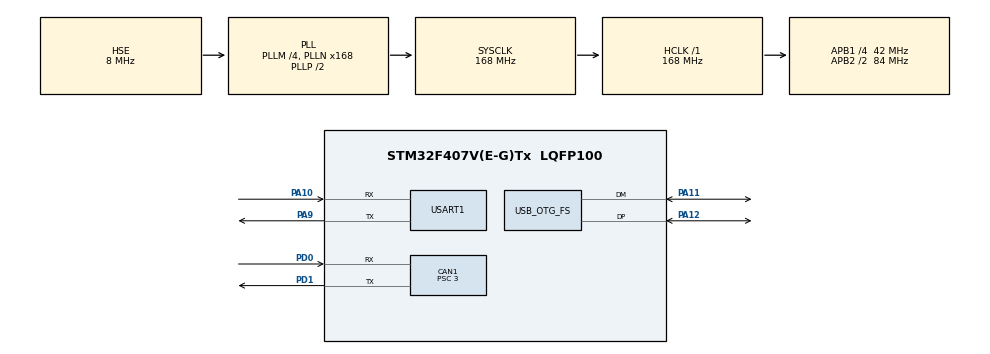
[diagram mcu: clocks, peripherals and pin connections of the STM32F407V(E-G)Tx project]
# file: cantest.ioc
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CAN1.BS1=CAN_BS1_10TQ
CAN1.BS2=CAN_BS2_3TQ
CAN1.CalculateBaudRate=1000000
CAN1.CalculateTimeBit=1000
CAN1.CalculateTimeQuantum=476.1904761904762
CAN1.Prescaler=3
FREERTOS.Tasks01=defaultTask,24,128,StartDefaultTask,Default,NULL,Dynamic,NULL,NULL
Mcu.Family=STM32F4
Mcu.Name=STM32F407V(E-G)Tx
Mcu.Package=LQFP100
NVIC.CAN1_RX0_IRQn=true\:5\:0\:false\:false\:true\:true\:true\:true\:true
NVIC.CAN1_RX1_IRQn=true\:5\:0\:false\:false\:true\:true\:true\:true\:true
NVIC.PriorityGroup=NVIC_PRIORITYGROUP_4
NVIC.TIM1_UP_TIM10_IRQn=true\:15\:0\:false\:false\:true\:false\:false\:true\:true
NVIC.TimeBase=TIM1_UP_TIM10_IRQn
NVIC.TimeBaseIP=TIM1
PA10.Mode=Asynchronous
PA10.Signal=USART1_RX
PA11.Mode=Device_Only
PA11.Signal=USB_OTG_FS_DM
PA12.Mode=Device_Only
PA12.Signal=USB_OTG_FS_DP
PA13.Mode=Serial_Wire
PA13.Signal=SYS_JTMS-SWDIO
PA14.Mode=Serial_Wire
PA14.Signal=SYS_JTCK-SWCLK
PA9.Mode=Asynchronous
PA9.Signal=USART1_TX
PC14-OSC32_IN.Mode=LSE-External-Oscillator
PC14-OSC32_IN.Signal=RCC_OSC32_IN
PC15-OSC32_OUT.Mode=LSE-External-Oscillator
PC15-OSC32_OUT.Signal=RCC_OSC32_OUT
PD0.Mode=CAN_Activate
PD0.Signal=CAN1_RX
PD1.Mode=CAN_Activate
PD1.Signal=CAN1_TX
PH0-OSC_IN.Mode=HSE-External-Oscillator
PH0-OSC_IN.Signal=RCC_OSC_IN
PH1-OSC_OUT.Mode=HSE-External-Oscillator
PH1-OSC_OUT.Signal=RCC_OSC_OUT
ProjectManager.HeapSize=0x200
ProjectManager.StackSize=0x400
ProjectManager.TargetToolchain=MDK-ARM V5.32
RCC.48MHZClocksFreq_Value=48000000
RCC.AHBFreq_Value=168000000
RCC.APB1CLKDivider=RCC_HCLK_DIV4
RCC.APB1Freq_Value=42000000
RCC.APB1TimFreq_Value=84000000
RCC.APB2CLKDivider=RCC_HCLK_DIV2
RCC.APB2Freq_Value=84000000
RCC.APB2TimFreq_Value=168000000
RCC.CortexFreq_Value=168000000
RCC.HCLKFreq_Value=168000000
RCC.HSE_VALUE=8000000
RCC.HSI_VALUE=16000000
RCC.PLLM=4
RCC.PLLN=168
RCC.PLLQ=7
RCC.SYSCLKFreq_VALUE=168000000
RCC.SYSCLKSource=RCC_SYSCLKSOURCE_PLLCLK
RCC.VCOOutputFreq_Value=336000000
USART1.VirtualMode=VM_ASYNC
USB_OTG_FS.VirtualMode=Device_Only
VP_FREERTOS_VS_CMSIS_V2.Mode=CMSIS_V2
VP_SYS_VS_tim1.Mode=TIM1
board=custom

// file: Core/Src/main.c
/* USER CODE BEGIN Header */
/**
  ******************************************************************************
  * @file           : main.c
  * @brief          : Main program body
  ******************************************************************************
  * @attention
  *
  * Copyright (c) 2026 STMicroelectronics.
  * All rights reserved.
  *
  * This software is licensed under terms that can be found in the LICENSE file
  * in the root directory of this software component.
  * If no LICENSE file comes with this software, it is provided AS-IS.
  *
  ******************************************************************************
  */
/* USER CODE END Header */
#include "main.h"
#include "cmsis_os.h"
#include "can.h"
#include "usart.h"
#include "usb_otg.h"
#include "gpio.h"

void SystemClock_Config(void);
void MX_FREERTOS_Init(void);

int main(void)
{

  /* MCU Configuration--------------------------------------------------------*/

  /* Reset of all peripherals, Initializes the Flash interface and the Systick. */
  HAL_Init();

  /* Configure the system clock */
  SystemClock_Config();

  /* Initialize all configured peripherals */
  MX_GPIO_Init();
  MX_CAN1_Init();
  MX_USART1_UART_Init();
  MX_USB_OTG_FS_PCD_Init();

  /* Init scheduler */
  osKernelInitialize();  /* Call init function for freertos objects (in cmsis_os2.c) */
  MX_FREERTOS_Init();

  /* Start scheduler */
  osKernelStart();

  /* We should never get here as control is now taken by the scheduler */

  /* Infinite loop */
  while (1)
  {

  }
}

void SystemClock_Config(void)
{
  RCC_OscInitTypeDef RCC_OscInitStruct = {0};
  RCC_ClkInitTypeDef RCC_ClkInitStruct = {0};

  /** Configure the main internal regulator output voltage
  */
  __HAL_RCC_PWR_CLK_ENABLE();
  __HAL_PWR_VOLTAGESCALING_CONFIG(PWR_REGULATOR_VOLTAGE_SCALE1);

  /** Initializes the RCC Oscillators according to the specified parameters
  * in the RCC_OscInitTypeDef structure.
  */
  RCC_OscInitStruct.OscillatorType = RCC_OSCILLATORTYPE_HSE;
  RCC_OscInitStruct.HSEState = RCC_HSE_ON;
  RCC_OscInitStruct.PLL.PLLState = RCC_PLL_ON;
  RCC_OscInitStruct.PLL.PLLSource = RCC_PLLSOURCE_HSE;
  RCC_OscInitStruct.PLL.PLLM = 4;
  RCC_OscInitStruct.PLL.PLLN = 168;
  RCC_OscInitStruct.PLL.PLLP = RCC_PLLP_DIV2;
  RCC_OscInitStruct.PLL.PLLQ = 7;
  if (HAL_RCC_OscConfig(&RCC_OscInitStruct) != HAL_OK)
  {
    Error_Handler();
  }

  /** Initializes the CPU, AHB and APB buses clocks
  */
  RCC_ClkInitStruct.ClockType = RCC_CLOCKTYPE_HCLK|RCC_CLOCKTYPE_SYSCLK
                              |RCC_CLOCKTYPE_PCLK1|RCC_CLOCKTYPE_PCLK2;
  RCC_ClkInitStruct.SYSCLKSource = RCC_SYSCLKSOURCE_PLLCLK;
  RCC_ClkInitStruct.AHBCLKDivider = RCC_SYSCLK_DIV1;
  RCC_ClkInitStruct.APB1CLKDivider = RCC_HCLK_DIV4;
  RCC_ClkInitStruct.APB2CLKDivider = RCC_HCLK_DIV2;

  if (HAL_RCC_ClockConfig(&RCC_ClkInitStruct, FLASH_LATENCY_5) != HAL_OK)
  {
    Error_Handler();
  }
}

void HAL_TIM_PeriodElapsedCallback(TIM_HandleTypeDef *htim)
{
  if (htim->Instance == TIM1)
  {
    HAL_IncTick();
  }
}

void Error_Handler(void)
{
  __disable_irq();
  while (1)
  {
  }
}

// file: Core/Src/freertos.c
/* USER CODE BEGIN Header */
/**
  ******************************************************************************
  * File Name          : freertos.c
  * Description        : Code for freertos applications
  ******************************************************************************
  * @attention
  *
  * Copyright (c) 2026 STMicroelectronics.
  * All rights reserved.
  *
  * This software is licensed under terms that can be found in the LICENSE file
  * in the root directory of this software component.
  * If no LICENSE file comes with this software, it is provided AS-IS.
  *
  ******************************************************************************
  */
/* USER CODE END Header */

#include "FreeRTOS.h"
#include "task.h"
#include "main.h"
#include "cmsis_os.h"

/* USER CODE BEGIN Includes */
#include "can.h"
#include "usart.h"
#include <stdio.h>

/* USER CODE END Includes */

/* USER CODE BEGIN PD */
#define CAN_DEMO_NODE_ID              0U
#define CAN_DEMO_BASE_STD_ID          0x100U
#define CAN_DEMO_MAX_NODE_ID          126U
#define CAN_DEMO_TX_PERIOD_MS         700U
#define CAN_DEMO_POLL_PERIOD_MS       10U
#define CAN_DEMO_START_OFFSET_STEP_MS 10U
#define CAN_DEMO_PAYLOAD_MAGIC        0xA5U

/* USER CODE END PD */

/* Definitions for defaultTask */
osThreadId_t defaultTaskHandle;
const osThreadAttr_t defaultTask_attributes = {
  .name = "defaultTask",
  .stack_size = 128 * 4,
  .priority = (osPriority_t) osPriorityNormal,
};

/* USER CODE BEGIN FunctionPrototypes */
static uint8_t CAN_DemoGetNodeId(void);
static HAL_StatusTypeDef CAN_DemoConfigFilter(void);
static HAL_StatusTypeDef CAN_DemoSend(uint8_t node_id, uint32_t sequence);
static void CAN_DemoDrainRx(void);
static void CAN_DemoPrintData(const uint8_t *data, uint32_t length);
static void CAN_DemoPrintStartup(uint8_t node_id);

/* USER CODE END FunctionPrototypes */

void StartDefaultTask(void *argument);

void MX_FREERTOS_Init(void); /* (MISRA C 2004 rule 8.1) */

void MX_FREERTOS_Init(void) {

  /* Create the thread(s) */
  /* creation of defaultTask */
  defaultTaskHandle = osThreadNew(StartDefaultTask, NULL, &defaultTask_attributes);

}

void StartDefaultTask(void *argument)
{
  /* USER CODE BEGIN StartDefaultTask */
  uint8_t node_id = CAN_DemoGetNodeId();
  uint32_t sequence = 0U;
  uint32_t next_tx_tick;
  uint8_t can_ready = 0U;
  uint32_t diag_counter = 0U;

  CAN_DemoPrintStartup(node_id);

  /* ---- Step 1: Loopback test (no external bus needed) ---- */
  printf("[DIAG] === LOOPBACK TEST (internal, no transceiver needed) ===\r\n");
  {
    /* Temporarily re-init CAN in loopback mode */
    hcan1.Init.Mode = CAN_MODE_LOOPBACK;
    HAL_StatusTypeDef lb_init = HAL_CAN_Init(&hcan1);
    printf("[DIAG] Loopback HAL_CAN_Init status=%ld\r\n", (long)lb_init);
    printf("[DIAG] Loopback MCR=0x%08lX MSR=0x%08lX\r\n",
           (unsigned long)CAN1->MCR, (unsigned long)CAN1->MSR);

    if (lb_init == HAL_OK)
    {
      /* Config filter */
      if (CAN_DemoConfigFilter() == HAL_OK)
      {
        printf("[DIAG] Loopback filter OK\r\n");
      }
      else
      {
        printf("[DIAG] Loopback filter FAILED\r\n");
      }

      HAL_StatusTypeDef lb_start = HAL_CAN_Start(&hcan1);
      printf("[DIAG] Loopback HAL_CAN_Start status=%ld state=%lu\r\n",
             (long)lb_start, (unsigned long)HAL_CAN_GetState(&hcan1));
      printf("[DIAG] Loopback MCR=0x%08lX MSR=0x%08lX ESR=0x%08lX\r\n",
             (unsigned long)CAN1->MCR, (unsigned long)CAN1->MSR, (unsigned long)CAN1->ESR);

      if (lb_start == HAL_OK)
      {
        /* Send a test frame in loopback */
        CAN_TxHeaderTypeDef tx_hdr = {0};
        uint32_t tx_mailbox;
        uint8_t tx_data[8] = {0xDE, 0xAD, 0xBE, 0xEF, 0x01, 0x02, 0x03, 0x04};
        tx_hdr.StdId = 0x123;
        tx_hdr.IDE = CAN_ID_STD;
        tx_hdr.RTR = CAN_RTR_DATA;
        tx_hdr.DLC = 8;

        HAL_StatusTypeDef tx_status = HAL_CAN_AddTxMessage(&hcan1, &tx_hdr, tx_data, &tx_mailbox);
        printf("[DIAG] Loopback TX status=%ld mailbox=%lu\r\n", (long)tx_status, (unsigned long)tx_mailbox);

        /* Wait a bit for loopback RX */
        osDelay(50);

        uint32_t fifo_fill = HAL_CAN_GetRxFifoFillLevel(&hcan1, CAN_RX_FIFO0);
        printf("[DIAG] Loopback RX FIFO0 fill=%lu\r\n", (unsigned long)fifo_fill);

        if (fifo_fill > 0U)
        {
          CAN_RxHeaderTypeDef rx_hdr;
          uint8_t rx_data[8] = {0};
          if (HAL_CAN_GetRxMessage(&hcan1, CAN_RX_FIFO0, &rx_hdr, rx_data) == HAL_OK)
          {
            printf("[DIAG] Loopback RX OK! id=0x%03lX dlc=%lu data=",
                   (unsigned long)rx_hdr.StdId, (unsigned long)rx_hdr.DLC);
            CAN_DemoPrintData(rx_data, rx_hdr.DLC);
            printf("\r\n");
            printf("[DIAG] *** LOOPBACK TEST PASSED - CAN controller works! ***\r\n");
          }
          else
          {
            printf("[DIAG] Loopback RX read FAILED\r\n");
          }
        }
        else
        {
          printf("[DIAG] *** LOOPBACK TEST FAILED - no RX frame! ***\r\n");
          printf("[DIAG] This means CAN controller itself is broken or misconfigured\r\n");
        }

        HAL_CAN_Stop(&hcan1);
      }
      else
      {
        printf("[DIAG] *** LOOPBACK START FAILED - CAN controller cannot leave init mode ***\r\n");
        printf("[DIAG] MSR INAK bit = %lu (should be 0 after start)\r\n",
               (unsigned long)((CAN1->MSR & CAN_MSR_INAK) >> 0));
        printf("[DIAG] This is a CRITICAL hardware issue:\r\n");
        printf("[DIAG]   - Check PD0/PD1 are not shorted to ground or VCC\r\n");
        printf("[DIAG]   - Check no other peripheral is claiming PA11/PA12\r\n");
        printf("[DIAG]   - Check AF mapping: PD0=AF9(CAN1_RX), PD1=AF9(CAN1_TX)\r\n");
      }
    }
    else
    {
      printf("[DIAG] *** LOOPBACK INIT FAILED ***\r\n");
    }

    /* Stop loopback, restore normal mode */
    HAL_CAN_Stop(&hcan1);
    hcan1.Init.Mode = CAN_MODE_NORMAL;
  }
  printf("[DIAG] === LOOPBACK TEST END ===\r\n\r\n");

  /* ---- Step 2: Detailed CAN register dump before normal init ---- */
  printf("[DIAG] CAN1 registers BEFORE normal init:\r\n");
  printf("[DIAG]   MCR=0x%08lX MSR=0x%08lX TSR=0x%08lX\r\n",
         (unsigned long)CAN1->MCR,
         (unsigned long)CAN1->MSR,
         (unsigned long)CAN1->TSR);
  printf("[DIAG]   ESR=0x%08lX BTR=0x%08lX IER=0x%08lX\r\n",
         (unsigned long)CAN1->ESR,
         (unsigned long)CAN1->BTR,
         (unsigned long)CAN1->IER);
  printf("[DIAG]   RF0R=0x%08lX RF1R=0x%08lX FMR=0x%08lX\r\n",
         (unsigned long)CAN1->RF0R,
         (unsigned long)CAN1->RF1R,
         (unsigned long)CAN1->FMR);

  /* ---- Baudrate verification ---- */
  {
    uint32_t btr = CAN1->BTR;
    uint32_t prescaler = (btr & CAN_BTR_BRP) >> 0;
    uint32_t ts1 = (btr & CAN_BTR_TS1) >> 16;
    uint32_t ts2 = (btr & CAN_BTR_TS2) >> 20;
    uint32_t sjw = (btr & CAN_BTR_SJW) >> 24;
    uint32_t total_tq = 1U + (ts1 + 1U) + (ts2 + 1U);
    uint32_t baud = 42000000U / ((prescaler + 1U) * total_tq);
    printf("[DIAG] BTR=0x%08lX: Prescaler=%lu TS1=%lu TS2=%lu SJW=%lu total_TQ=%lu\r\n",
           (unsigned long)btr,
           (unsigned long)(prescaler + 1U),
           (unsigned long)(ts1 + 1U),
           (unsigned long)(ts2 + 1U),
           (unsigned long)(sjw + 1U),
           (unsigned long)total_tq);
    printf("[DIAG] Calculated baudrate = %lu bps (target 1Mbps)\r\n", (unsigned long)baud);
  }

  /* ---- Step 3: Re-init CAN in NORMAL mode ---- */
  printf("[CAN INIT] Re-initializing CAN in NORMAL mode...\r\n");
  HAL_StatusTypeDef reinit_status = HAL_CAN_Init(&hcan1);
  printf("[CAN INIT] HAL_CAN_Init status=%ld\r\n", (long)reinit_status);
  printf("[CAN INIT] After init: MCR=0x%08lX MSR=0x%08lX\r\n",
         (unsigned long)CAN1->MCR, (unsigned long)CAN1->MSR);

  /* Check INAK status after init */
  {
    uint32_t inak = (CAN1->MSR & CAN_MSR_INAK);
    printf("[DIAG] MSR INAK=%lu (1=still in init mode, 0=left init mode)\r\n", (unsigned long)inak);
    if (inak != 0U)
    {
      printf("[DIAG] *** WARNING: CAN stuck in init mode! ***\r\n");
      printf("[DIAG] INAK stays 1 when CAN_RX pin does not see recessive level (HIGH)\r\n");
      printf("[DIAG] Possible causes:\r\n");
      printf("[DIAG]   1) CAN transceiver not powered or not connected\r\n");
      printf("[DIAG]   2) CANH/CANL shorted or swapped\r\n");
      printf("[DIAG]   3) No 120ohm termination on bus\r\n");
      printf("[DIAG]   4) PD0/PD1 GPIO conflict with another peripheral\r\n");
    }
  }

  /* ---- Step 4: GPIO pin check ---- */
  printf("[DIAG] GPIO pin levels (PD0=CAN1_RX, PD1=CAN1_TX):\r\n");
  printf("[DIAG]   PA11=%u PA12=%u\r\n",
         (unsigned int)HAL_GPIO_ReadPin(GPIOD, GPIO_PIN_0),
         (unsigned int)HAL_GPIO_ReadPin(GPIOD, GPIO_PIN_1));
  printf("[DIAG]   (CAN_RX idle should be HIGH=1, LOW=0 means no transceiver or bus stuck dominant)\r\n");

  /* ---- Step 5: Filter config ---- */
  printf("[CAN INIT] attempting filter config...\r\n");
  if (CAN_DemoConfigFilter() != HAL_OK)
  {
    printf("[CAN INIT] filter failed, err=0x%08lX\r\n", (unsigned long)HAL_CAN_GetError(&hcan1));
  }
  else
  {
    printf("[CAN INIT] filter configured OK\r\n");

    /* Dump filter registers after config */
    printf("[DIAG] Filter regs: FMR=0x%08lX FM1R=0x%08lX FS1R=0x%08lX\r\n",
           (unsigned long)CAN1->FMR,
           (unsigned long)CAN1->FM1R,
           (unsigned long)CAN1->FS1R);
    printf("[DIAG] Filter regs: FFA1R=0x%08lX FA1R=0x%08lX\r\n",
           (unsigned long)CAN1->FFA1R,
           (unsigned long)CAN1->FA1R);
    printf("[DIAG] Filter0: FR1=0x%08lX FR2=0x%08lX\r\n",
           (unsigned long)CAN1->sFilterRegister[0].FR1,
           (unsigned long)CAN1->sFilterRegister[0].FR2);

    printf("[CAN INIT] attempting HAL_CAN_Start...\r\n");

    HAL_StatusTypeDef start_status = HAL_CAN_Start(&hcan1);
    if (start_status != HAL_OK)
    {
      uint32_t error_code = HAL_CAN_GetError(&hcan1);
      printf("[CAN INIT] start failed, status=%ld state=%lu err=0x%08lX\r\n",
             (long)start_status,
             (unsigned long)HAL_CAN_GetState(&hcan1),
             (unsigned long)error_code);

      printf("[DIAG] MSR=0x%08lX INAK=%lu SLAK=%lu\r\n",
             (unsigned long)CAN1->MSR,
             (unsigned long)(CAN1->MSR & CAN_MSR_INAK),
             (unsigned long)((CAN1->MSR & CAN_MSR_SLAK) >> 2));

      if (error_code & HAL_CAN_ERROR_ACK)
        printf("[CAN DIAG] ACK error - no other node responding\r\n");
      if (error_code & HAL_CAN_ERROR_BR)
        printf("[CAN DIAG] Bit recessive error\r\n");
      if (error_code & HAL_CAN_ERROR_BD)
        printf("[CAN DIAG] Bit dominant error\r\n");
      if (error_code & HAL_CAN_ERROR_CRC)
        printf("[CAN DIAG] CRC error\r\n");

      printf("[CAN DIAG] Check: 1) Transceiver power 2) CANH/CANL wiring 3) Termination resistors 4) Baudrate match\r\n");
    }
    else
    {
      can_ready = 1U;
      printf("[CAN INIT] started OK, tx_id=0x%03lX\r\n",
             (unsigned long)(CAN_DEMO_BASE_STD_ID + node_id));
    }
  }

  /* ---- Post-start register dump ---- */
  printf("[DIAG] CAN1 registers AFTER start:\r\n");
  printf("[DIAG]   MCR=0x%08lX MSR=0x%08lX TSR=0x%08lX\r\n",
         (unsigned long)CAN1->MCR,
         (unsigned long)CAN1->MSR,
         (unsigned long)CAN1->TSR);
  printf("[DIAG]   ESR=0x%08lX BTR=0x%08lX IER=0x%08lX\r\n",
         (unsigned long)CAN1->ESR,
         (unsigned long)CAN1->BTR,
         (unsigned long)CAN1->IER);
  printf("[DIAG]   RF0R=0x%08lX RF1R=0x%08lX\r\n",
         (unsigned long)CAN1->RF0R,
         (unsigned long)CAN1->RF1R);

  /* Decode ESR */
  {
    uint32_t esr = CAN1->ESR;
    printf("[DIAG] ESR detail: REC=%lu TEC=%lu LEC=%lu\r\n",
           (unsigned long)((esr & CAN_ESR_REC) >> 24),
           (unsigned long)((esr & CAN_ESR_TEC) >> 16),
           (unsigned long)((esr & CAN_ESR_LEC) >> 4));
    if (esr & CAN_ESR_EWGF) printf("[DIAG]   EWGF=1 (Error Warning)\r\n");
    if (esr & CAN_ESR_EPVF) printf("[DIAG]   EPVF=1 (Error Passive)\r\n");
    if (esr & CAN_ESR_BOFF) printf("[DIAG]   BOFF=1 (Bus-Off!)\r\n");
  }

  if (can_ready != 0U)
  {
    uint32_t offset_ms = ((node_id * 7U) % 10U) * 100U;
    printf("[CAN INIT] TX offset: %lu ms\r\n", (unsigned long)offset_ms);
    osDelay(offset_ms);
  }
  else
  {
    printf("[CAN INIT] CAN not ready, retrying in 3 seconds...\r\n");
    osDelay(3000);

    printf("[CAN INIT] retry: attempting HAL_CAN_Start...\r\n");
    HAL_StatusTypeDef retry_status = HAL_CAN_Start(&hcan1);
    if (retry_status == HAL_OK)
    {
      can_ready = 1U;
      printf("[CAN INIT] retry succeeded! tx_id=0x%03lX\r\n",
             (unsigned long)(CAN_DEMO_BASE_STD_ID + node_id));
    }
    else
    {
      printf("[CAN INIT] retry failed, status=%ld state=%lu err=0x%08lX\r\n",
             (long)retry_status,
             (unsigned long)HAL_CAN_GetState(&hcan1),
             (unsigned long)HAL_CAN_GetError(&hcan1));
    }
  }

  next_tx_tick = osKernelGetTickCount();

  for(;;)
  {
    uint32_t now = osKernelGetTickCount();

    if (can_ready != 0U)
    {
      CAN_DemoDrainRx();

      if ((int32_t)(now - next_tx_tick) >= 0)
      {
        HAL_StatusTypeDef status = CAN_DemoSend(node_id, sequence);

        if (status == HAL_OK)
        {
          printf("[CAN TX] id=0x%03lX seq=%lu free=%lu\r\n",
                 (unsigned long)(CAN_DEMO_BASE_STD_ID + node_id),
                 (unsigned long)sequence,
                 (unsigned long)HAL_CAN_GetTxMailboxesFreeLevel(&hcan1));
          sequence++;
        }
        else
        {
          printf("[CAN TX] failed, status=%ld state=%lu err=0x%08lX free=%lu\r\n",
                 (long)status,
                 (unsigned long)HAL_CAN_GetState(&hcan1),
                 (unsigned long)HAL_CAN_GetError(&hcan1),
                 (unsigned long)HAL_CAN_GetTxMailboxesFreeLevel(&hcan1));
        }

        next_tx_tick += CAN_DEMO_TX_PERIOD_MS;
      }

      /* Periodic diagnostics every 5 seconds */
      diag_counter++;
      if (diag_counter >= 500U)
      {
        diag_counter = 0U;
        uint32_t esr = CAN1->ESR;
        printf("[DIAG] --- Periodic ---\r\n");
        printf("[DIAG] State=%lu ESR=0x%08lX REC=%lu TEC=%lu LEC=%lu\r\n",
               (unsigned long)HAL_CAN_GetState(&hcan1),
               (unsigned long)esr,
               (unsigned long)((esr & CAN_ESR_REC) >> 24),
               (unsigned long)((esr & CAN_ESR_TEC) >> 16),
               (unsigned long)((esr & CAN_ESR_LEC) >> 4));
        printf("[DIAG] TSR=0x%08lX RF0R=0x%08lX FIFO0_fill=%lu free_tx=%lu\r\n",
               (unsigned long)CAN1->TSR,
               (unsigned long)CAN1->RF0R,
               (unsigned long)HAL_CAN_GetRxFifoFillLevel(&hcan1, CAN_RX_FIFO0),
               (unsigned long)HAL_CAN_GetTxMailboxesFreeLevel(&hcan1));
        printf("[DIAG] PD0(RX)=%u PD1(TX)=%u\r\n",
               (unsigned int)HAL_GPIO_ReadPin(GPIOD, GPIO_PIN_0),
               (unsigned int)HAL_GPIO_ReadPin(GPIOD, GPIO_PIN_1));
      }
    }

    osDelay(CAN_DEMO_POLL_PERIOD_MS);
  }
  /* USER CODE END StartDefaultTask */
}

/* USER CODE BEGIN Application */
int fputc(int ch, FILE *f)
{
  (void)f;
  HAL_UART_Transmit(&huart1, (uint8_t *)&ch, 1U, HAL_MAX_DELAY);
  return ch;
}

int __io_putchar(int ch)
{
  return fputc(ch, stdout);
}

static uint8_t CAN_DemoGetNodeId(void)
{
  uint32_t mixed_uid;

  if ((CAN_DEMO_NODE_ID >= 1U) && (CAN_DEMO_NODE_ID <= CAN_DEMO_MAX_NODE_ID))
  {
    return (uint8_t)CAN_DEMO_NODE_ID;
  }

  mixed_uid = HAL_GetUIDw0() ^ HAL_GetUIDw1() ^ HAL_GetUIDw2();
  return (uint8_t)((mixed_uid % CAN_DEMO_MAX_NODE_ID) + 1U);
}

static HAL_StatusTypeDef CAN_DemoConfigFilter(void)
{
  CAN_FilterTypeDef filter_config = {0};

  filter_config.FilterBank = 0;
  filter_config.FilterMode = CAN_FILTERMODE_IDMASK;
  filter_config.FilterScale = CAN_FILTERSCALE_32BIT;
  filter_config.FilterIdHigh = 0x0000;
  filter_config.FilterIdLow = 0x0000;
  filter_config.FilterMaskIdHigh = 0x0000;
  filter_config.FilterMaskIdLow = 0x0000;
  filter_config.FilterFIFOAssignment = CAN_RX_FIFO0;
  filter_config.FilterActivation = CAN_FILTER_ENABLE;
  filter_config.SlaveStartFilterBank = 14;

  printf("[CAN FILTER] mode=32BIT mask=0x0000 (accept all)\r\n");
  return HAL_CAN_ConfigFilter(&hcan1, &filter_config);
}

static HAL_StatusTypeDef CAN_DemoSend(uint8_t node_id, uint32_t sequence)
{
  CAN_TxHeaderTypeDef tx_header = {0};
  uint32_t tx_mailbox;
  uint32_t tick = HAL_GetTick();
  uint8_t tx_data[8];

  tx_data[0] = node_id;
  tx_data[1] = (uint8_t)(sequence & 0xFFU);
  tx_data[2] = (uint8_t)((sequence >> 8) & 0xFFU);
  tx_data[3] = (uint8_t)((sequence >> 16) & 0xFFU);
  tx_data[4] = (uint8_t)(tick & 0xFFU);
  tx_data[5] = (uint8_t)((tick >> 8) & 0xFFU);
  tx_data[6] = (uint8_t)((tick >> 16) & 0xFFU);
  tx_data[7] = CAN_DEMO_PAYLOAD_MAGIC;

  tx_header.StdId = CAN_DEMO_BASE_STD_ID + node_id;
  tx_header.ExtId = 0U;
  tx_header.IDE = CAN_ID_STD;
  tx_header.RTR = CAN_RTR_DATA;
  tx_header.DLC = sizeof(tx_data);
  tx_header.TransmitGlobalTime = DISABLE;

  if (HAL_CAN_GetTxMailboxesFreeLevel(&hcan1) == 0U)
  {
    HAL_CAN_AbortTxRequest(&hcan1, CAN_TX_MAILBOX0 | CAN_TX_MAILBOX1 | CAN_TX_MAILBOX2);
    osDelay(1);
  }

  return HAL_CAN_AddTxMessage(&hcan1, &tx_header, tx_data, &tx_mailbox);
}

static void CAN_DemoDrainRx(void)
{
  uint32_t frames_read = 0U;

  while ((HAL_CAN_GetRxFifoFillLevel(&hcan1, CAN_RX_FIFO0) > 0U) && (frames_read < 16U))
  {
    CAN_RxHeaderTypeDef rx_header;
    uint8_t rx_data[8] = {0};

    if (HAL_CAN_GetRxMessage(&hcan1, CAN_RX_FIFO0, &rx_header, rx_data) != HAL_OK)
    {
      printf("[CAN RX] read failed, err=0x%08lX\r\n", (unsigned long)HAL_CAN_GetError(&hcan1));
      break;
    }

    if (rx_header.IDE == CAN_ID_STD)
    {
      uint8_t sender_node = 0U;
      uint32_t sender_seq = 0U;
      uint32_t sender_tick = 0U;

      if (rx_header.DLC >= 4U)
      {
        sender_node = rx_data[0];
        sender_seq = ((uint32_t)rx_data[3] << 16) | ((uint32_t)rx_data[2] << 8) | rx_data[1];
      }
      if (rx_header.DLC >= 7U)
      {
        sender_tick = ((uint32_t)rx_data[6] << 16) | ((uint32_t)rx_data[5] << 8) | rx_data[4];
      }

      printf("[CAN RX] id=0x%03lX node=%u seq=%lu tick=%lu dlc=%lu data=",
             (unsigned long)rx_header.StdId,
             (unsigned int)sender_node,
             (unsigned long)sender_seq,
             (unsigned long)sender_tick,
             (unsigned long)rx_header.DLC);
      CAN_DemoPrintData(rx_data, rx_header.DLC);
      printf("\r\n");
    }
    else
    {
      printf("[CAN RX] ext_id=0x%08lX dlc=%lu data=",
             (unsigned long)rx_header.ExtId,
             (unsigned long)rx_header.DLC);
      CAN_DemoPrintData(rx_data, rx_header.DLC);
      printf("\r\n");
    }

    frames_read++;
  }

  if (frames_read > 0U)
  {
    printf("[CAN RX] processed %lu frame(s)\r\n", (unsigned long)frames_read);
  }
}

static void CAN_DemoPrintData(const uint8_t *data, uint32_t length)
{
  uint32_t i;

  if (length > 8U)
  {
    length = 8U;
  }

  for (i = 0U; i < length; i++)
  {
    printf("%02X", data[i]);
    if ((i + 1U) < length)
    {
      printf(" ");
    }
  }
}

static void CAN_DemoPrintStartup(uint8_t node_id)
{
  printf("\r\n[BOOT] cantest CAN demo\r\n");
  printf("[BOOT] UID=%08lX-%08lX-%08lX node=%u tx_id=0x%03lX\r\n",
         (unsigned long)HAL_GetUIDw2(),
         (unsigned long)HAL_GetUIDw1(),
         (unsigned long)HAL_GetUIDw0(),
         (unsigned int)node_id,
         (unsigned long)(CAN_DEMO_BASE_STD_ID + node_id));
  printf("[BOOT] USART1=115200  CAN1=1Mbps  TX_PERIOD=%lums\r\n",
         (unsigned long)CAN_DEMO_TX_PERIOD_MS);
}

/* USER CODE END Application */
